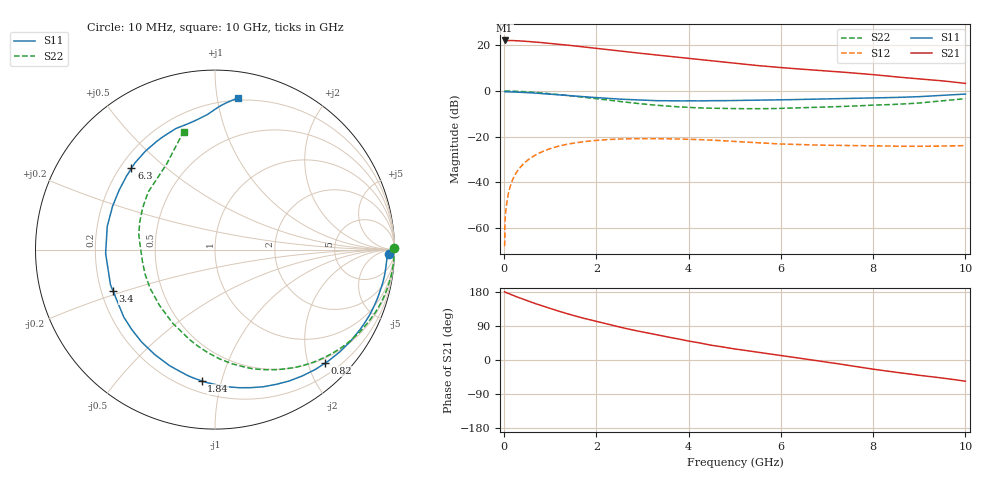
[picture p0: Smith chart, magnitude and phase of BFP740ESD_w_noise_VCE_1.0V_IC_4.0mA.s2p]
! Infineon Technologies  Discrete & RF Semiconductors
! BFP740ESD
! VCE =  1.0 V,  IC =  4.0 mA
! Common Emitter S-Parameters:  Jan 2016
# GHz  S  MA  R  50
!  f  S11  S21  S12  S22
! GHz  MAG  ANG  MAG  ANG  MAG  ANG  MAG  ANG
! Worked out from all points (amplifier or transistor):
!   233 points, 10 MHz to 10 GHz, reference 50 ohm
!   highest |S21| = 22.1 dB at 10 MHz (marker M1)
!   |S21| within 3 dB of that: start of sweep to 1.791 GHz
!   unconditionally stable (mu >= 1): 6.243 GHz to 9.675 GHz
!   at 200 MHz: K = 0.04, MSG = 30.1 dB, |S12| = -38.1 dB
!   at 1.74 GHz: K = 0.24, MSG = 20.7 dB, |S12| = -22.2 dB
!   at 10 GHz: K = 0.82, MSG = 13.6 dB, |S12| = -23.9 dB
!   lowest NFmin = 0.51 dB at 450 MHz
!   S11 on the Smith chart (normalised r, x): 10 MHz: 38, -35; 820 MHz: 0.41, -2.31; 1.84 GHz: 0.27, -0.87; 3.4 GHz: 0.25, -0.18; 6.3 GHz: 0.25, +0.38; 10 GHz: 0.18, +1.15
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0.01  0.9719 -1.5  12.79 179.9  0.0004 -119.8  0.9952 0.5
0.02  0.9597 -1.2  12.64 179.4  0.0015 91.9  0.998 -0.8
0.04  0.9593 -2.3  12.67 178.1  0.0026 89.9  0.9981 -1.7
0.18  0.9533 -10.4  12.72 171.3  0.0112 82.7  0.9929 -7.9
0.34  0.9406 -19.5  12.5 163.7  0.0208 76.7  0.979 -14.8
0.52  0.9206 -29.6  12.14 155.6  0.0312 70.0  0.9558 -22.3
0.82  0.8814 -45.8  11.46 143.1  0.0466 59.3  0.907 -34.3
1  0.8555 -55.4  11.05 135.9  0.0548 53.2  0.8731 -41.4
1.24  0.8182 -67.5  10.45 126.8  0.0641 45.5  0.8252 -50.2
1.68  0.7554 -88.6  9.344 111.6  0.0766 33.0  0.7376 -65.2
1.84  0.7355 -95.8  8.942 106.5  0.08 29.0  0.7081 -70.3
2.22  0.6919 -112.2  8.11 95.0  0.086 20.1  0.6394 -82.1
2.6  0.6577 -128.4  7.352 84.2  0.0895 12.0  0.5761 -93.9
3  0.6323 -143.5  6.625 73.8  0.0907 4.5  0.5214 -105.7
3.4  0.6131 -157.8  5.988 64.3  0.0902 -1.9  0.4794 -117.1
4  0.6098 -178.0  5.211 50.0  0.0881 -10.5  0.4384 -134.9
4.5  0.6142 167.8  4.593 38.8  0.0841 -16.8  0.421 -149.4
5.1  0.6204 155.2  3.945 27.5  0.0775 -21.7  0.4113 -162.8
6.3  0.6494 135.8  3.086 6.6  0.0675 -25.7  0.425 172.4
6.8  0.6647 128.2  2.829 -2.1  0.0655 -26.1  0.4397 163.5
8.4  0.7184 101.5  2.083 -30.8  0.0619 -27.6  0.5056 131.2
10  0.8556 81.3  1.468 -56.0  0.0637 -27.4  0.6804 104.9
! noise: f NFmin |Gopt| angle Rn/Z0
0.45  0.51  0.48  6  0.16
0.9  0.54  0.48  17  0.14
1.9  0.58  0.41  37  0.12
2.4  0.65  0.36  54  0.14
5.5  0.98  0.27  -178  0.11
10  2.13  0.64  -96  0.63
